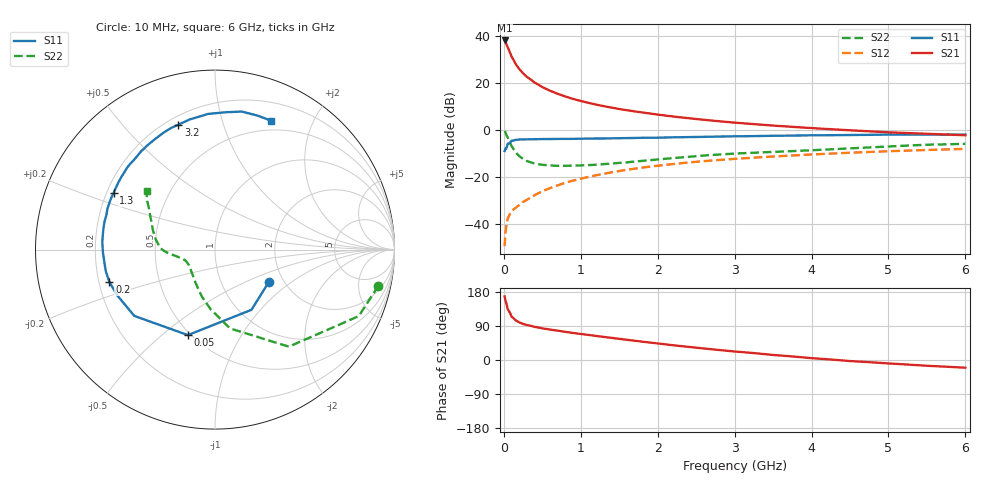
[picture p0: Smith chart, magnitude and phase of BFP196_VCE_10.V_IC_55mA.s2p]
! Infineon Technologies  Discrete & RF Semiconductors
! BFP196
! VCE =  10. V,  IC =  55 mA
! Common Emitter S-Parameters:  Jan 2017
# GHz  S  MA  R  50
!  f  S11  S21  S12  S22
! GHz  MAG  ANG  MAG  ANG  MAG  ANG  MAG  ANG
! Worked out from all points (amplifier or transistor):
!   77 points, 10 MHz to 6 GHz, reference 50 ohm
!   highest |S21| = 38.0 dB at 10 MHz (marker M1)
!   |S21| within 3 dB of that: start of sweep to 52 MHz
!   unconditionally stable (mu >= 1): 569.6 MHz to 2.394 GHz
!   at 130 MHz: K = 0.60, MSG = 31.7 dB, |S12| = -33.9 dB
!   at 2.2 GHz: K = 1.01, MAG = 9.5 dB, |S12| = -14.7 dB
!   at 6 GHz: K = 0.94, MSG = 2.9 dB, |S12| = -8.2 dB
!   S11 on the Smith chart (normalised r, x): 10 MHz: 1.67, -0.70; 50 MHz: 0.48, -0.61; 200 MHz: 0.24, -0.14; 1.3 GHz: 0.23, +0.25; 3.2 GHz: 0.24, +0.72; 6 GHz: 0.39, +1.45
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0.01  0.3501 -31.5  79.03 167.9  0.0033 76.1  0.9327 -12.5
0.02  0.3922 -58.8  75.67 157.6  0.0063 74.5  0.8826 -24.8
0.05  0.4997 -107.6  56.88 133.9  0.0127 56.7  0.6796 -52.7
0.1  0.5818 -140.6  36.08 114.4  0.0184 53.0  0.4477 -79.1
0.15  0.6017 -155.0  25.48 105.1  0.0214 52.8  0.3328 -94.2
0.2  0.6153 -162.9  19.54 99.4  0.0248 57.4  0.2736 -105.2
0.25  0.62 -168.7  15.79 95.2  0.0288 58.6  0.2371 -113.3
0.3  0.6204 -172.7  13.23 92.3  0.032 60.8  0.214 -120.5
0.4  0.6248 -178.8  10.03 87.4  0.0401 63.6  0.1897 -130.5
0.5  0.629 176.5  8.042 83.6  0.0485 65.2  0.1781 -138.3
0.6  0.6304 172.4  6.736 80.3  0.0568 65.8  0.1727 -144.3
0.7  0.6327 169.2  5.78 77.4  0.065 65.8  0.169 -148.6
0.9  0.6348 162.4  4.502 71.4  0.0822 65.3  0.1714 -154.9
1.1  0.6431 156.5  3.713 66.2  0.0984 64.3  0.1756 -159.5
1.3  0.6472 150.8  3.153 60.9  0.1146 61.9  0.1843 -163.0
1.6  0.6598 142.5  2.585 53.3  0.1398 58.7  0.2008 -167.2
2.1  0.6786 129.4  1.991 41.4  0.1775 52.3  0.2392 -173.2
3.1  0.7225 108.1  1.367 20.8  0.2439 39.3  0.3139 175.6
3.2  0.7255 106.3  1.328 19.1  0.2496 38.1  0.319 174.2
4.1  0.7578 91.5  1.054 3.5  0.3006 27.3  0.3701 160.5
5.1  0.7824 77.8  0.863 -10.2  0.3507 15.7  0.4451 146.6
6  0.7833 66.6  0.757 -20.4  0.389 5.7  0.4974 139.3
